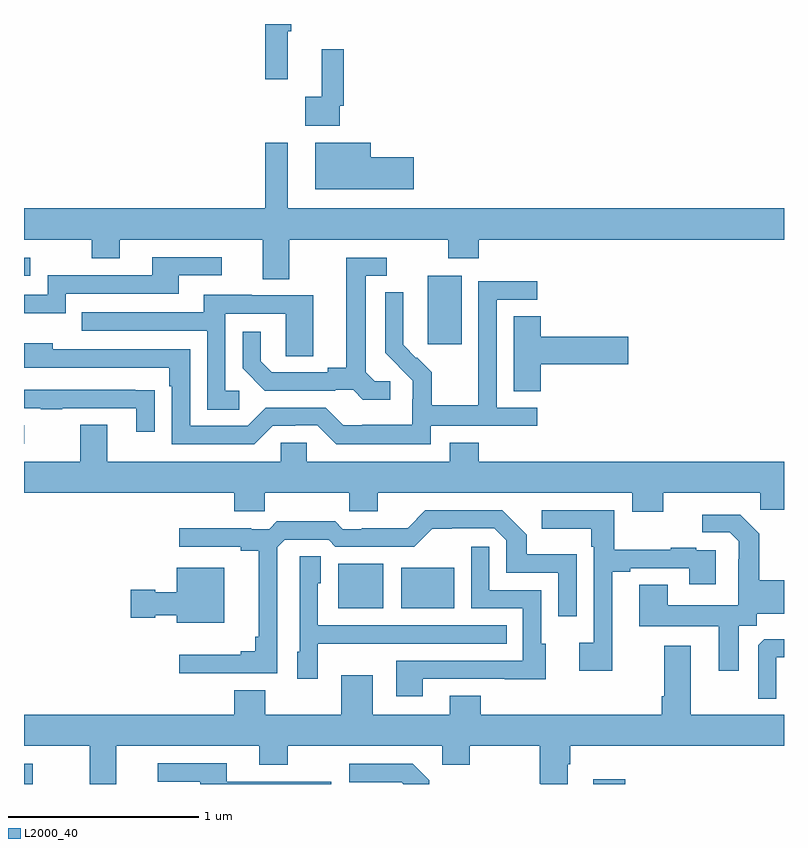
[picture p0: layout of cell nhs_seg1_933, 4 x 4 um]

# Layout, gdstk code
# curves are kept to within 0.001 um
import gdstk
lib = gdstk.Library(unit=1e-6, precision=1e-09)
def R(c, l, rs):  # rectangles x0, y0, x1, y1
    for r in rs: c.add(gdstk.rectangle(r[:2], r[2:], *l))
def P(c, l, *ps):  # polygons
    for p in ps: c.add(gdstk.Polygon(p, *l))
L2000_40 = (2000, 40)

nhs_seg1_933 = lib.new_cell('nhs_seg1_933')
R(nhs_seg1_933, L2000_40, [(161,550.199,161.047,550.305), (163.997,550.199,164.165,550.225), (162.653,551.123,162.892,551.359), (162.986,551.123,163.264,551.338), (161,551.991,161.002,552.087), (163.124,552.513,163.303,552.874), (161,552.873,161.032,552.969)])
P(nhs_seg1_933, L2000_40, [(162.389,554.16),(162.407,554.16),(162.407,554.199),(162.271,554.199),(162.271,553.908),(162.389,553.908)],
  [(162.663,553.768),(162.683,553.768),(162.683,554.065),(162.566,554.065),(162.566,553.817),(162.48,553.817),(162.48,553.664),(162.663,553.664)],
  [(163.051,553.499),(162.826,553.499),(162.826,553.573),(162.533,553.573),(162.533,553.328),(163.051,553.328)],
  [(162.397,553.064),(163.234,553.064),(163.234,552.965),(163.394,552.965),(163.394,553.064),(165,553.064),(165,553.228),(162.388,553.228),(162.388,553.573),(162.271,553.573),(162.271,553.228),(161,553.228),(161,553.064),(161.356,553.064),(161.356,552.965),(161.503,552.965),(161.503,553.064),(162.257,553.064),(162.257,552.856),(162.397,552.856)],
  [(161.22,552.78),(161.815,552.78),(161.815,552.876),(162.04,552.876),(162.04,552.972),(161.675,552.972),(161.675,552.876),(161.124,552.876),(161.124,552.774),(161,552.774),(161,552.677),(161.22,552.677)],
  [(162.928,552.318),(162.846,552.318),(162.799,552.365),(162.799,552.873),(162.91,552.873),(162.91,552.969),(162.695,552.969),(162.695,552.389),(162.599,552.389),(162.599,552.366),(162.304,552.366),(162.247,552.423),(162.247,552.58),(162.15,552.58),(162.15,552.386),(162.266,552.27),(162.638,552.27),(162.638,552.273),(162.732,552.273),(162.784,552.221),(162.928,552.221)],
  [(163.14,552.084),(163.702,552.084),(163.702,552.18),(163.488,552.18),(163.488,552.747),(163.702,552.747),(163.702,552.846),(163.392,552.846),(163.392,552.416),(163.39,552.416),(163.39,552.193),(163.145,552.193),(163.145,552.367),(163.068,552.444),(163.065,552.441),(162.995,552.512),(162.996,552.788),(162.9,552.788),(162.9,552.47),(163.046,552.322),(163.046,552.225),(163.044,552.225),(163.044,552.091),(162.781,552.091),(162.781,552.087),(162.681,552.087),(162.588,552.18),(162.273,552.18),(162.177,552.084),(161.874,552.084),(161.874,552.486),(161.15,552.486),(161.15,552.52),(161,552.52),(161,552.39),(161.765,552.39),(161.765,552.293),(161.778,552.293),(161.778,551.988),(162.213,551.988),(162.309,552.084),(162.428,552.084),(162.428,552.087),(162.543,552.087),(162.643,551.987),(163.14,551.987)],
  [(162.133,552.27),(162.06,552.27),(162.06,552.675),(162.378,552.675),(162.378,552.451),(162.523,552.451),(162.523,552.771),(162.199,552.771),(162.199,552.775),(161.945,552.775),(161.945,552.681),(161.305,552.681),(161.305,552.585),(161.964,552.585),(161.964,552.169),(162.133,552.169)],
  [(163.721,552.407),(164.179,552.407),(164.179,552.554),(163.721,552.554),(163.721,552.662),(163.577,552.662),(163.577,552.265),(163.721,552.265)],
  [(161.687,552.272),(161.585,552.272),(161.585,552.273),(161,552.273),(161,552.177),(161.089,552.177),(161.089,552.172),(161.201,552.172),(161.201,552.177),(161.591,552.177),(161.591,552.054),(161.687,552.054)],
  [(164.365,551.732),(164.875,551.732),(164.875,551.642),(165,551.642),(165,551.896),(163.394,551.896),(163.394,551.995),(163.241,551.995),(163.241,551.896),(162.489,551.896),(162.489,551.994),(162.351,551.994),(162.351,551.896),(161.437,551.896),(161.437,552.091),(161.297,552.091),(161.297,551.896),(161,551.896),(161,551.732),(162.107,551.732),(162.107,551.634),(162.267,551.634),(162.267,551.732),(162.712,551.732),(162.712,551.634),(162.862,551.634),(162.862,551.732),(164.201,551.732),(164.201,551.633),(164.365,551.633)],
  [(162.333,551.445),(162.372,551.484),(162.603,551.484),(162.639,551.448),(163.053,551.448),(163.148,551.543),(163.476,551.544),(163.539,551.481),(163.539,551.31),(163.812,551.31),(163.812,551.082),(163.908,551.082),(163.908,551.407),(163.647,551.407),(163.647,551.51),(163.516,551.64),(163.113,551.64),(163.019,551.546),(162.778,551.546),(162.778,551.541),(162.678,551.541),(162.639,551.581),(162.331,551.581),(162.291,551.541),(162.197,551.541),(162.197,551.546),(161.817,551.546),(161.817,551.448),(162.14,551.448),(162.14,551.426),(162.236,551.426),(162.236,550.975),(162.217,550.975),(162.217,550.898),(162.14,550.898),(162.14,550.879),(161.817,550.879),(161.817,550.782),(162.333,550.782)],
  [(164.095,551.316),(164.191,551.316),(164.191,551.334),(164.501,551.334),(164.501,551.25),(164.641,551.25),(164.641,551.43),(164.537,551.43),(164.537,551.443),(164.405,551.443),(164.405,551.432),(164.107,551.432),(164.107,551.64),(163.725,551.64),(163.725,551.543),(163.986,551.543),(163.986,551.447),(163.998,551.447),(163.998,550.942),(163.923,550.942),(163.923,550.794),(164.095,550.794)],
  [(164.761,551.032),(164.856,551.032),(164.856,551.096),(165,551.096),(165,551.272),(164.871,551.272),(164.871,551.517),(164.771,551.617),(164.571,551.617),(164.571,551.523),(164.715,551.523),(164.762,551.476),(164.762,551.381),(164.76,551.381),(164.76,551.14),(164.389,551.14),(164.389,551.249),(164.237,551.249),(164.237,551.03),(164.657,551.03),(164.657,550.794),(164.761,550.794)],
  [(163.099,550.752),(163.529,550.752),(163.529,550.751),(163.747,550.751),(163.747,550.938),(163.722,550.938),(163.722,551.22),(163.449,551.22),(163.449,551.449),(163.353,551.449),(163.353,551.124),(163.626,551.124),(163.626,550.848),(162.959,550.848),(162.959,550.662),(163.099,550.662)],
  [(162.546,550.937),(162.863,550.937),(162.863,550.938),(163.541,550.938),(163.541,551.034),(162.546,551.034),(162.546,551.256),(162.562,551.256),(162.562,551.399),(162.45,551.399),(162.45,550.896),(162.437,550.896),(162.437,550.752),(162.546,550.752)],
  [(162.055,551.338),(161.804,551.338),(161.804,551.209),(161.691,551.209),(161.691,551.222),(161.562,551.222),(161.562,551.075),(161.691,551.075),(161.691,551.087),(161.804,551.087),(161.804,551.048),(162.055,551.048)],
  [(164.958,550.866),(165,550.866),(165,550.961),(164.897,550.961),(164.865,550.929),(164.865,550.649),(164.958,550.649)],
  [(161.485,550.4),(162.239,550.4),(162.239,550.301),(162.387,550.301),(162.387,550.4),(163.2,550.4),(163.2,550.301),(163.347,550.301),(163.347,550.4),(163.714,550.4),(163.714,550.201),(163.721,550.201),(163.721,550.199),(163.861,550.199),(163.861,550.304),(163.874,550.304),(163.874,550.4),(165,550.4),(165,550.564),(164.509,550.564),(164.509,550.927),(164.369,550.927),(164.369,550.66),(164.357,550.66),(164.357,550.564),(163.405,550.564),(163.405,550.663),(163.241,550.663),(163.241,550.564),(162.835,550.564),(162.835,550.771),(162.671,550.771),(162.671,550.564),(162.271,550.564),(162.271,550.693),(162.107,550.693),(162.107,550.564),(161,550.564),(161,550.4),(161.345,550.4),(161.345,550.199),(161.485,550.199)],
  [(162.618,550.212),(162.067,550.212),(162.067,550.308),(161.703,550.308),(161.703,550.212),(161.927,550.212),(161.927,550.199),(162.618,550.199)],
  [(163.134,550.218),(163.047,550.305),(162.711,550.305),(162.711,550.209),(162.987,550.209),(162.997,550.199),(163.134,550.199)])

lib.write_gds('nhs_seg1_933.gds')
